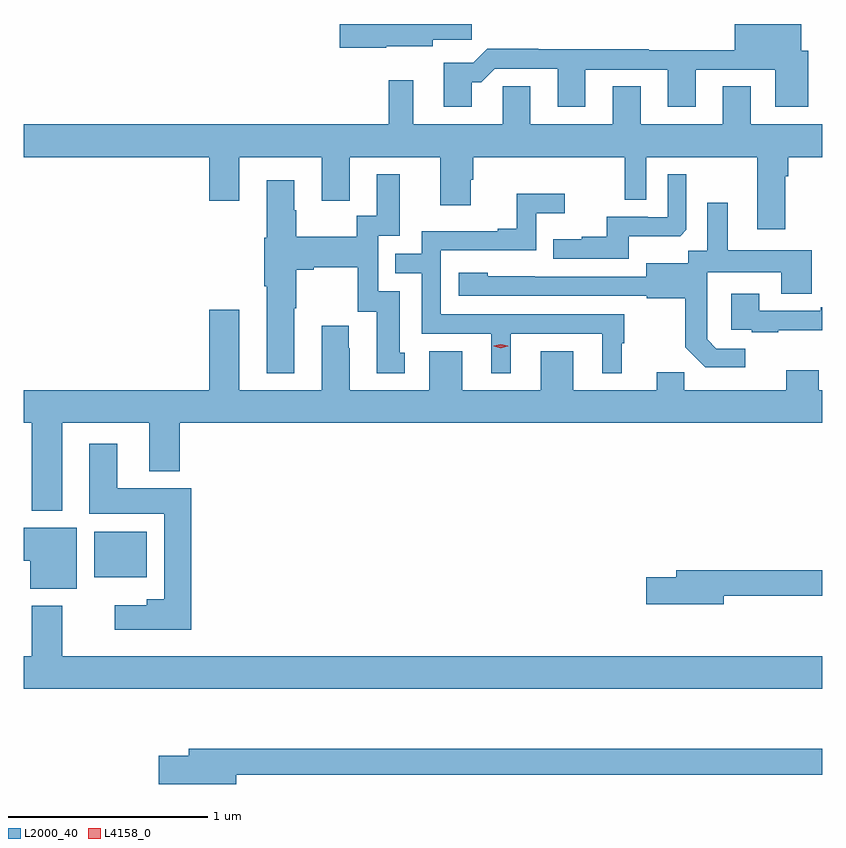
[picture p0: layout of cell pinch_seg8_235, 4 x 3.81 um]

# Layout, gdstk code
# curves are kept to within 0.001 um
import gdstk
lib = gdstk.Library(unit=1e-6, precision=1e-09)
def R(c, l, rs):  # rectangles x0, y0, x1, y1
    for r in rs: c.add(gdstk.rectangle(r[:2], r[2:], *l))
def P(c, l, *ps):  # polygons
    for p in ps: c.add(gdstk.Polygon(p, *l))
L2000_40 = (2000, 40)
L4158_0 = (4158, 0)

pinch_seg8_235 = lib.new_cell('pinch_seg8_235')
R(pinch_seg8_235, L2000_40, [(623.441,1107.734,623.704,1107.964)])
P(pinch_seg8_235, L2000_40, [(624.906,1110.395),(625.138,1110.395),(625.138,1110.427),(625.333,1110.427),(625.333,1110.507),(624.672,1110.507),(624.672,1110.388),(624.906,1110.388)],
  [(625.333,1110.215),(625.382,1110.215),(625.449,1110.282),(625.763,1110.282),(625.763,1110.093),(625.903,1110.093),(625.903,1110.279),(626.315,1110.279),(626.315,1110.093),(626.455,1110.093),(626.455,1110.279),(626.855,1110.279),(626.855,1110.093),(627.02,1110.093),(627.02,1110.372),(626.983,1110.372),(626.983,1110.507),(626.651,1110.507),(626.651,1110.376),(626.219,1110.376),(626.219,1110.38),(625.667,1110.38),(625.667,1110.383),(625.412,1110.383),(625.342,1110.313),(625.193,1110.313),(625.193,1110.093),(625.333,1110.093)],
  [(626.1,1109.626),(626.208,1109.626),(626.208,1109.84),(626.765,1109.84),(626.765,1109.478),(626.905,1109.478),(626.905,1109.744),(626.918,1109.744),(626.918,1109.84),(627.089,1109.84),(627.089,1110.004),(626.731,1110.004),(626.731,1110.194),(626.591,1110.194),(626.591,1110.004),(626.179,1110.004),(626.179,1110.194),(626.039,1110.194),(626.039,1110.004),(625.627,1110.004),(625.627,1110.194),(625.488,1110.194),(625.488,1110.004),(625.039,1110.004),(625.039,1110.226),(624.918,1110.226),(624.918,1110.004),(623.089,1110.004),(623.089,1109.84),(624.017,1109.84),(624.017,1109.622),(624.169,1109.622),(624.169,1109.84),(624.581,1109.84),(624.581,1109.622),(624.721,1109.622),(624.721,1109.84),(625.175,1109.84),(625.175,1109.598),(625.327,1109.598),(625.327,1109.727),(625.34,1109.727),(625.34,1109.84),(626.1,1109.84)],
  [(626.119,1109.444),(626.377,1109.444),(626.409,1109.475),(626.409,1109.755),(626.316,1109.755),(626.316,1109.538),(626.216,1109.538),(626.216,1109.541),(626.009,1109.541),(626.009,1109.44),(625.885,1109.44),(625.885,1109.428),(625.741,1109.428),(625.741,1109.331),(626.119,1109.331)],
  [(624.445,1109.083),(624.453,1109.083),(624.453,1109.276),(624.541,1109.276),(624.541,1109.288),(624.761,1109.288),(624.761,1109.064),(624.857,1109.064),(624.857,1108.758),(624.997,1108.758),(624.997,1108.86),(624.973,1108.86),(624.973,1109.169),(624.864,1109.169),(624.864,1109.445),(624.973,1109.445),(624.973,1109.755),(624.857,1109.755),(624.857,1109.546),(624.756,1109.546),(624.756,1109.44),(624.453,1109.44),(624.453,1109.574),(624.445,1109.574),(624.445,1109.725),(624.305,1109.725),(624.305,1109.436),(624.293,1109.436),(624.293,1109.192),(624.305,1109.192),(624.305,1108.757),(624.445,1108.757)],
  [(625.528,1108.956),(625.988,1108.956),(625.988,1108.757),(626.086,1108.757),(626.086,1108.908),(626.098,1108.908),(626.098,1109.052),(625.179,1109.052),(625.179,1109.373),(625.656,1109.373),(625.656,1109.558),(625.798,1109.558),(625.798,1109.657),(625.558,1109.657),(625.558,1109.482),(625.463,1109.482),(625.463,1109.469),(625.083,1109.469),(625.083,1109.355),(624.949,1109.355),(624.949,1109.259),(625.083,1109.259),(625.083,1108.956),(625.43,1108.956),(625.43,1108.757),(625.528,1108.757)],
  [(626.704,1108.881),(626.559,1108.881),(626.512,1108.928),(626.512,1109.023),(626.514,1109.023),(626.514,1109.264),(626.885,1109.264),(626.885,1109.155),(627.037,1109.155),(627.037,1109.374),(626.617,1109.374),(626.617,1109.611),(626.513,1109.611),(626.513,1109.372),(626.418,1109.372),(626.418,1109.308),(626.207,1109.308),(626.207,1109.241),(625.413,1109.242),(625.413,1109.26),(625.269,1109.26),(625.269,1109.145),(626.211,1109.145),(626.211,1109.133),(626.403,1109.133),(626.403,1108.887),(626.503,1108.787),(626.704,1108.787)],
  [(626.869,1108.973),(627.089,1108.973),(627.089,1109.089),(627.083,1109.089),(627.083,1109.07),(626.773,1109.07),(626.773,1109.155),(626.633,1109.155),(626.633,1108.974),(626.737,1108.974),(626.737,1108.962),(626.869,1108.962)],
  [(623.281,1108.508),(623.717,1108.508),(623.717,1108.265),(623.87,1108.265),(623.87,1108.508),(627.089,1108.508),(627.089,1108.672),(627.073,1108.672),(627.073,1108.771),(626.909,1108.771),(626.909,1108.672),(626.399,1108.672),(626.399,1108.763),(626.261,1108.763),(626.261,1108.672),(625.843,1108.672),(625.843,1108.867),(625.679,1108.867),(625.679,1108.672),(625.285,1108.672),(625.285,1108.867),(625.121,1108.867),(625.121,1108.672),(624.721,1108.672),(624.721,1108.883),(624.718,1108.883),(624.718,1108.996),(624.581,1108.996),(624.581,1108.672),(624.169,1108.672),(624.169,1109.074),(624.017,1109.074),(624.017,1108.672),(623.089,1108.672),(623.089,1108.508),(623.129,1108.508),(623.129,1108.067),(623.281,1108.067)],
  [(623.927,1108.18),(623.557,1108.18),(623.557,1108.405),(623.417,1108.405),(623.417,1108.052),(623.792,1108.052),(623.792,1107.625),(623.705,1107.625),(623.705,1107.595),(623.544,1107.595),(623.544,1107.473),(623.927,1107.473)],
  [(623.353,1107.982),(623.089,1107.982),(623.089,1107.817),(623.12,1107.817),(623.12,1107.677),(623.353,1107.677)],
  [(626.596,1107.642),(627.089,1107.642),(627.089,1107.77),(626.357,1107.77),(626.357,1107.734),(626.208,1107.734),(626.208,1107.599),(626.596,1107.599)],
  [(627.089,1107.34),(623.281,1107.34),(623.281,1107.592),(623.129,1107.592),(623.129,1107.34),(623.089,1107.34),(623.089,1107.176),(627.089,1107.176)],
  [(624.154,1106.746),(627.089,1106.746),(627.089,1106.875),(623.915,1106.875),(623.915,1106.841),(623.766,1106.841),(623.766,1106.699),(624.154,1106.699)])
P(pinch_seg8_235, L4158_0, [(625.479,1108.883),(625.444,1108.893),(625.443,1108.893),(625.444,1108.894),(625.479,1108.903),(625.514,1108.894),(625.515,1108.893),(625.514,1108.893)])

lib.write_gds('pinch_seg8_235.gds')
